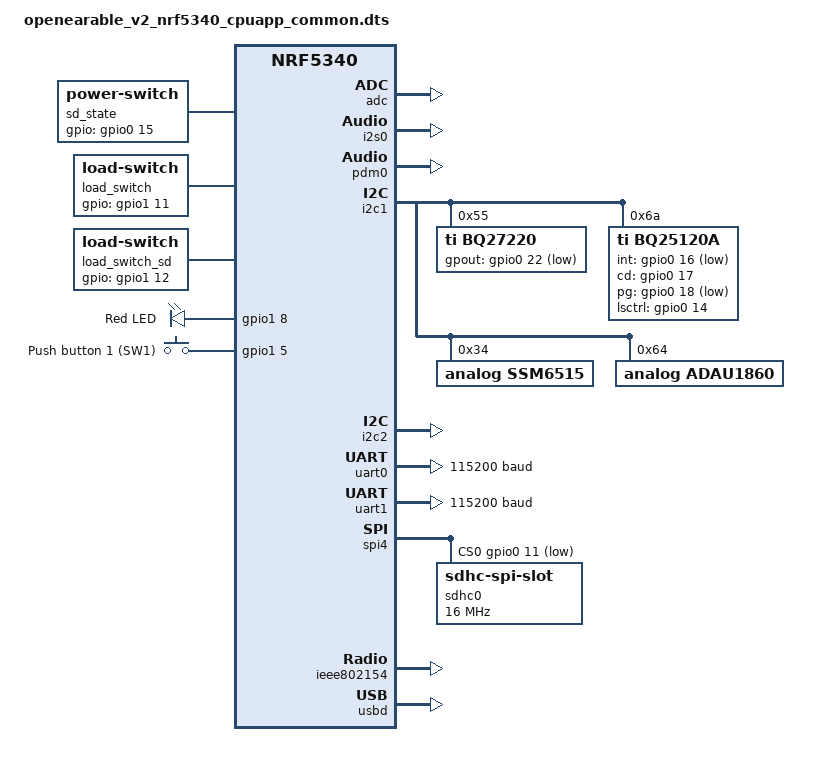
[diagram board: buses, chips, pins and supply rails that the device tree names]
/*
 * Copyright (c) 2023 Raytac Corporation
 *
 * SPDX-License-Identifier: Apache-2.0
 */
#include "openearable_v2_nrf5340_cpuapp_common-pinctrl.dtsi"
#include <zephyr/dt-bindings/input/input-event-codes.h>

/ {
	chosen {
		zephyr,console = &cdc_acm_uart0;
		zephyr,shell-uart = &uart0;
		zephyr,uart-mcumgr = &uart0;
		zephyr,bt-mon-uart = &uart0;
		zephyr,bt-c2h-uart = &uart0;
		zephyr,bt-hci-ipc = &ipc0;
		nordic,802154-spinel-ipc = &ipc0;
		zephyr,ieee802154 = &ieee802154;
	};

	sd_state: sd_state {
		compatible = "power-switch";
		/* using built-in LED pin for demonstration */
		gpios = <&gpio0 15 GPIO_ACTIVE_HIGH>;
	};

	load_switch: load_switch {
		compatible = "load-switch";
		gpios = <&gpio1 11 GPIO_ACTIVE_HIGH>;
		status = "okay";
		//zephyr,pm-device-runtime-auto;
	};

	load_switch_sd: load_switch_sd {
		compatible = "load-switch";
		gpios = <&gpio1 12 GPIO_ACTIVE_HIGH>;
		status = "okay";
	};

	error-leds {
		compatible = "gpio-leds";
		led_error: led_error {
			gpios = <&gpio1 8 GPIO_ACTIVE_HIGH>;
			label = "Red LED";
		};
	};

	/*leds {
		compatible = "gpio-leds";
		led0: led_0 {
			gpios = <&gpio0 28 GPIO_ACTIVE_LOW>;
			label = "Green LED 0";
		};
		led1: led_1 {
			gpios = <&gpio0 30 GPIO_ACTIVE_LOW>;
			label = "Red LED 1";
		};
		led2: led_2 {
			gpios = <&gpio0 31 GPIO_ACTIVE_LOW>;
			label = "LED 2";
		};
		led3: led_3 {
			gpios = <&gpio0 29 GPIO_ACTIVE_LOW>;
			label = "LED 3";
		};
	};

	pwmleds {
		compatible = "pwm-leds";
		pwm_led0: pwm_led_0 {
			pwms = <&pwm0 0 PWM_MSEC(20) PWM_POLARITY_INVERTED>;
		};
	};*/

	buttons {
		compatible = "gpio-keys";
		button0: button_0 {
			gpios = <&gpio1 5 (GPIO_PULL_DOWN | GPIO_ACTIVE_HIGH)>;
			label = "Push button 1 (SW1)";
			zephyr,code = <INPUT_KEY_0>;
		};
		/*button1: button_1 {
			gpios = <&gpio0 8 (GPIO_PULL_UP | GPIO_ACTIVE_LOW)>;
			label = "Push button 2 (SW2)";
			zephyr,code = <INPUT_KEY_1>;
		};
		button2: button_2 {
			gpios = <&gpio0 23 (GPIO_PULL_UP | GPIO_ACTIVE_LOW)>;
			label = "Push button 3 (SW3)";
			zephyr,code = <INPUT_KEY_2>;
		};
		button3: button_3 {
			gpios = <&gpio0 9 (GPIO_PULL_UP | GPIO_ACTIVE_LOW)>;
			label = "Push button 4 (SW4)";
			zephyr,code = <INPUT_KEY_3>;
		};*/
	};

	gpio_fwd: nrf-gpio-forwarder {
		compatible = "nordic,nrf-gpio-forwarder";
		status = "okay";
		uart {
			//gpios = <&gpio1 1 0>, <&gpio1 0 0>, <&gpio0 11 0>, <&gpio0 10 0>;
			gpios = <&gpio1 1 0>, <&gpio1 2 0>, <&gpio0 11 0>, <&gpio0 10 0>;
		};
	};

	/* These aliases are provided for compatibility with samples */
	aliases {
		/*led0 = &led0;
		led1 = &led1;
		led2 = &led2;
		led3 = &led3;
		pwm-led0 = &pwm_led0;*/
		sw0 = &button0;
		/*sw1 = &button1;
		sw2 = &button2;
		sw3 = &button3;*/
		//bootloader-led0 = &led0;
		mcuboot-button0 = &button0;
		//mcuboot-led0 = &led0;
		watchdog0 = &wdt0;
	};
};

&clock {
	hfclkaudio-frequency = <12288000>;
};

&adc {
	status = "okay";
};

&gpiote {
	status = "okay";
};

&gpio0 {
	status = "okay";
};

&gpio1 {
	status = "okay";
};

&i2s0 {
	compatible = "nordic,nrf-i2s";
	status = "okay";
	pinctrl-0 = <&i2s0_default>;
	pinctrl-1 = <&i2s0_sleep>;
	pinctrl-names = "default", "sleep";
};

dmic_dev: &pdm0 {
	compatible = "nordic,nrf-pdm";
	status = "okay";
	pinctrl-0 = <&pdm0_default_alt>;
	pinctrl-names = "default";
	clock-source = "ACLK";
};

&i2c1 {
	compatible = "nordic,nrf-twim";
	status = "okay";
	pinctrl-0 = <&i2c1_default>;
	pinctrl-1 = <&i2c1_sleep>;
	pinctrl-names = "default", "sleep";

	bq27220: bq27220@55 {
		compatible = "ti,bq27220";
		reg = <0x55>;
		gpout-gpios = <&gpio0 22 (GPIO_PULL_UP | GPIO_ACTIVE_LOW)>;
	};

	bq25120a: bq25120a@6A {
		compatible = "ti,bq25120a";
		reg = <0x6A>;
		int-gpios = <&gpio0 16 (GPIO_ACTIVE_LOW | GPIO_PULL_UP)>;
		cd-gpios = <&gpio0 17 GPIO_ACTIVE_HIGH>;
		pg-gpios = <&gpio0 18 (GPIO_ACTIVE_LOW | GPIO_PULL_UP)>;
		lsctrl-gpios = <&gpio0 14 GPIO_ACTIVE_HIGH>;
	};

	ssm6515: ssm6515@34 {
		compatible = "analog,ssm6515";
		reg = <0x34>;
	};

	adau1860: adau1860@64 {
		compatible = "analog,adau1860";
		reg = <0x64>;
	};
};

&i2c2 {
	compatible = "nordic,nrf-twim";
	status = "okay";
	pinctrl-0 = <&i2c2_default>;
	pinctrl-1 = <&i2c2_sleep>;
	pinctrl-names = "default", "sleep";
};

&uart0 {
	status = "okay";
	current-speed = <115200>;
	pinctrl-0 = <&uart0_default>;
	pinctrl-1 = <&uart0_sleep>;
	pinctrl-names = "default", "sleep";
};

&uart1 {
	compatible = "nordic,nrf-uarte";
	current-speed = <115200>;
	pinctrl-0 = <&uart1_default>;
	pinctrl-1 = <&uart1_sleep>;
	pinctrl-names = "default", "sleep";
};

&pwm0 {
	status = "disabled"; // okay
	pinctrl-0 = <&pwm0_default>;
	pinctrl-1 = <&pwm0_sleep>;
	pinctrl-names = "default", "sleep";
};

&qspi {
	status = "disabled";
	pinctrl-0 = <&qspi_default>;
	pinctrl-1 = <&qspi_sleep>;
	pinctrl-names = "default", "sleep";
};

&spi2 {
	compatible = "nordic,nrf-spim";
	status = "disabled";
	cs-gpios = <&gpio0 25 GPIO_ACTIVE_LOW>;

	pinctrl-0 = <&spi2_default>;
	pinctrl-1 = <&spi2_sleep>;
	pinctrl-names = "default", "sleep";
};

&spi3 {
	compatible = "nordic,nrf-spim";
	status = "disabled";
	cs-gpios = <&gpio1 12 GPIO_ACTIVE_LOW>;

	pinctrl-0 = <&spi3_default>;
	pinctrl-1 = <&spi3_sleep>;
	pinctrl-names = "default", "sleep";
};

&spi4 {
	compatible = "nordic,nrf-spim";
	status = "okay";
	cs-gpios = <&gpio0 11 GPIO_ACTIVE_LOW>;

	pinctrl-0 = <&spi4_default>;
	pinctrl-1 = <&spi4_sleep>;
	pinctrl-names = "default", "sleep";
	sdhc0: sdhc@0 {
		compatible = "zephyr,sdhc-spi-slot";
		reg = <0>;
		status = "okay";
		sdmmc {
			compatible = "zephyr,sdmmc-disk";
			status = "okay";
		};

		spi-max-frequency = <16000000>;
	};
};

&flash0 {

	partitions {
		compatible = "fixed-partitions";
		#address-cells = <1>;
		#size-cells = <1>;

		boot_partition: partition@0 {
			label = "mcuboot";
			reg = <0x00000000 0x00010000>;
		};
		slot0_partition: partition@10000 {
			label = "image-0";
		};
		slot0_ns_partition: partition@50000 {
			label = "image-0-nonsecure";
		};
		slot1_partition: partition@80000 {
			label = "image-1";
		};
		slot1_ns_partition: partition@c0000 {
			label = "image-1-nonsecure";
		};
		storage_partition: partition@fa000 {
			label = "storage";
			reg = <0x000fa000 0x00006000>;
		};
	};
};

&ieee802154 {
	status = "okay";
};

zephyr_udc0: &usbd {
	compatible = "nordic,nrf-usbd";
	status = "okay";
	cdc_acm_uart0: cdc_acm_uart0 {
		compatible = "zephyr,cdc-acm-uart";
	};
};

/ {

	reserved-memory {
		#address-cells = <1>;
		#size-cells = <1>;
		ranges;

		sram0_image: image@20000000 {
			/* Zephyr image(s) memory */
		};

		sram0_s: image_s@20000000 {
			/* Secure image memory */
		};

		sram0_ns: image_ns@20040000 {
			/* Non-Secure image memory */
		};
	};
};

&uicr {
	nfct-pins-as-gpios;
};

/* Include partition configuration file */
#include "openearable_v2_nrf5340_cpuapp_partition_conf.dts"
